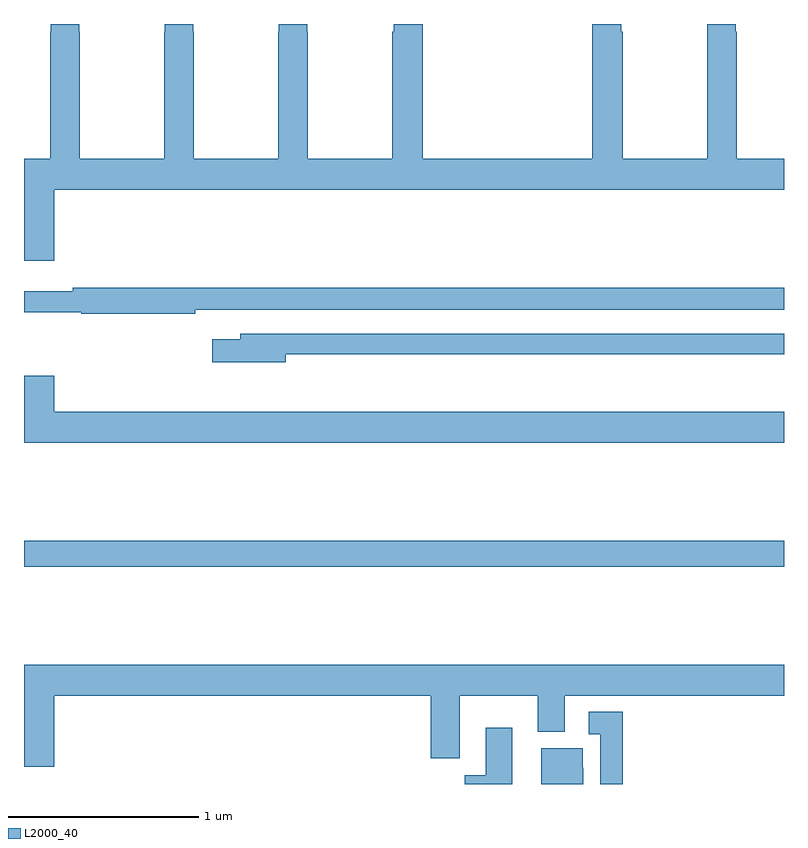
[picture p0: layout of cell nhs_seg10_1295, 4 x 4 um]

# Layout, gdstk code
import gdstk
lib = gdstk.Library(unit=1e-6, precision=1e-09)
def R(c, l, rs):  # rectangles x0, y0, x1, y1
    for r in rs: c.add(gdstk.rectangle(r[:2], r[2:], *l))
def P(c, l, *ps):  # polygons
    for p in ps: c.add(gdstk.Polygon(p, *l))
L2000_40 = (2000, 40)

nhs_seg10_1295 = lib.new_cell('nhs_seg10_1295')
R(nhs_seg10_1295, L2000_40, [(177,1319.644,181,1319.78)])
P(nhs_seg10_1295, L2000_40, [(177.16,1321.628),(181,1321.628),(181,1321.792),(180.75,1321.792),(180.75,1322.459),(180.747,1322.459),(180.747,1322.5),(180.597,1322.5),(180.597,1322.459),(180.595,1322.459),(180.595,1321.792),(180.15,1321.792),(180.15,1322.459),(180.143,1322.459),(180.143,1322.5),(179.99,1322.5),(179.99,1321.792),(179.099,1321.792),(179.099,1322.5),(178.945,1322.5),(178.945,1322.459),(178.939,1322.459),(178.939,1321.792),(178.494,1321.792),(178.494,1322.459),(178.491,1322.459),(178.491,1322.5),(178.341,1322.5),(178.341,1322.459),(178.339,1322.459),(178.339,1321.792),(177.894,1321.792),(177.894,1322.459),(177.891,1322.459),(177.891,1322.5),(177.741,1322.5),(177.741,1322.459),(177.739,1322.459),(177.739,1321.792),(177.294,1321.792),(177.294,1322.459),(177.291,1322.459),(177.291,1322.5),(177.141,1322.5),(177.141,1322.459),(177.139,1322.459),(177.139,1321.792),(177,1321.792),(177,1321.254),(177.16,1321.254)],
  [(177.902,1320.996),(181,1320.996),(181,1321.112),(177.256,1321.112),(177.256,1321.093),(177,1321.093),(177,1320.984),(177.302,1320.984),(177.302,1320.976),(177.902,1320.976)],
  [(178.378,1320.762),(181,1320.762),(181,1320.87),(178.139,1320.87),(178.139,1320.841),(177.99,1320.841),(177.99,1320.719),(178.378,1320.719)],
  [(181,1320.46),(177.16,1320.46),(177.16,1320.649),(177,1320.649),(177,1320.296),(181,1320.296)],
  [(177.16,1318.964),(179.141,1318.964),(179.141,1318.635),(179.293,1318.635),(179.293,1318.964),(179.705,1318.964),(179.705,1318.775),(179.845,1318.775),(179.845,1318.964),(181,1318.964),(181,1319.128),(177,1319.128),(177,1318.59),(177.16,1318.59)],
  [(180.151,1318.879),(179.973,1318.879),(179.973,1318.762),(180.032,1318.762),(180.032,1318.5),(180.151,1318.5)],
  [(179.569,1318.795),(179.429,1318.795),(179.429,1318.545),(179.321,1318.545),(179.321,1318.5),(179.569,1318.5)],
  [(179.944,1318.586),(179.941,1318.586),(179.941,1318.687),(179.723,1318.687),(179.723,1318.5),(179.944,1318.5)])

lib.write_gds('nhs_seg10_1295.gds')
